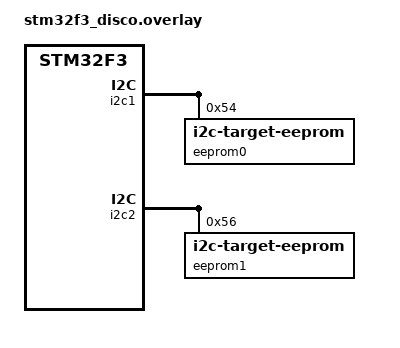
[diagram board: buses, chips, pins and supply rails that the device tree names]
/* SPDX-License-Identifier: Apache-2.0 */

/* I2C bus pins are exposed on the ST P2 connector.
 *
 *  Bus        SDA               SCL
 *          Pin   Hdr         Pin   Hdr
 *  i2c1    PB7  P2:21        PB6  P2:22
 *  i2c2    PA10 P2:43        PA9  P2:44
 *
 * Short Pin PB7 to PA10, and PB6 to PA9, for the test to pass.
 */

#define IC2_TEST_0_DMA_TX <&dma1 6 STM32_DMA_PERIPH_TX>
#define IC2_TEST_0_DMA_RX <&dma1 7 STM32_DMA_PERIPH_RX>

i2c_test_0: &i2c1 {
	dmas = IC2_TEST_0_DMA_TX, IC2_TEST_0_DMA_RX;
	dma-names = "tx", "rx";

	eeprom0: eeprom@54 {
		compatible = "zephyr,i2c-target-eeprom";
		reg = <0x54>;
		size = <256>;
	};
};

#define IC2_TEST_1_DMA_TX <&dma1 4 STM32_DMA_PERIPH_TX>
#define IC2_TEST_1_DMA_RX <&dma1 5 STM32_DMA_PERIPH_RX>

i2c_test_1: &i2c2 {
	dmas = IC2_TEST_1_DMA_TX, IC2_TEST_1_DMA_RX;
	dma-names = "tx", "rx";

	eeprom1: eeprom@56 {
		compatible = "zephyr,i2c-target-eeprom";
		reg = <0x56>;
		size = <256>;
	};
};
